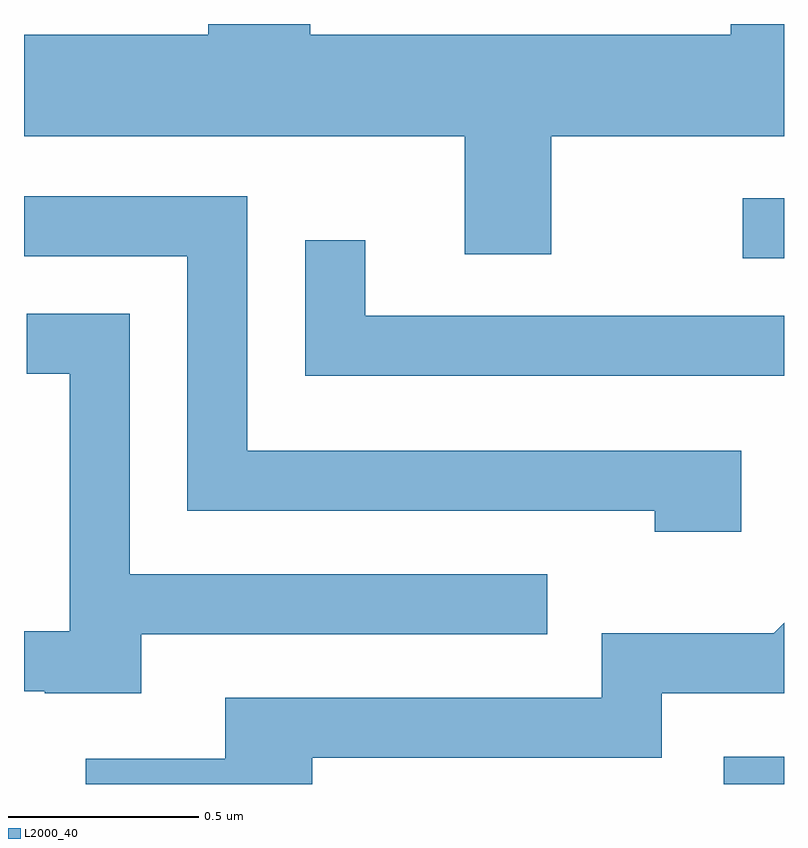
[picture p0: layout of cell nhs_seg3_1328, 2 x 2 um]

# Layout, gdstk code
import gdstk
lib = gdstk.Library(unit=1e-6, precision=1e-09)
def R(c, l, rs):  # rectangles x0, y0, x1, y1
    for r in rs: c.add(gdstk.rectangle(r[:2], r[2:], *l))
def P(c, l, *ps):  # polygons
    for p in ps: c.add(gdstk.Polygon(p, *l))
L2000_40 = (2000, 40)

nhs_seg3_1328 = lib.new_cell('nhs_seg3_1328')
R(nhs_seg3_1328, L2000_40, [(196.453,1210.892,196.611,1210.964), (196.503,1212.276,196.611,1212.434)])
P(nhs_seg3_1328, L2000_40, [(195.999,1212.596),(196.611,1212.596),(196.611,1212.892),(196.471,1212.892),(196.471,1212.864),(195.364,1212.864),(195.364,1212.892),(195.096,1212.892),(195.096,1212.864),(194.611,1212.864),(194.611,1212.596),(195.771,1212.596),(195.771,1212.286),(195.999,1212.286)],
  [(196.499,1211.769),(195.199,1211.769),(195.199,1212.439),(194.611,1212.439),(194.611,1212.281),(195.041,1212.281),(195.041,1211.611),(196.271,1211.611),(196.271,1211.556),(196.499,1211.556)],
  [(196.611,1212.124),(195.509,1212.124),(195.509,1212.323),(195.351,1212.323),(195.351,1211.966),(196.611,1211.966)],
  [(194.919,1211.286),(195.988,1211.286),(195.988,1211.444),(194.889,1211.444),(194.889,1212.129),(194.618,1212.129),(194.618,1211.971),(194.731,1211.971),(194.731,1211.294),(194.611,1211.294),(194.611,1211.136),(194.665,1211.136),(194.665,1211.131),(194.919,1211.131)],
  [(195.369,1210.961),(196.289,1210.961),(196.289,1211.131),(196.611,1211.131),(196.611,1211.316),(196.584,1211.289),(196.131,1211.289),(196.131,1211.119),(195.141,1211.119),(195.141,1210.959),(194.773,1210.959),(194.773,1210.892),(195.369,1210.892)])

lib.write_gds('nhs_seg3_1328.gds')
